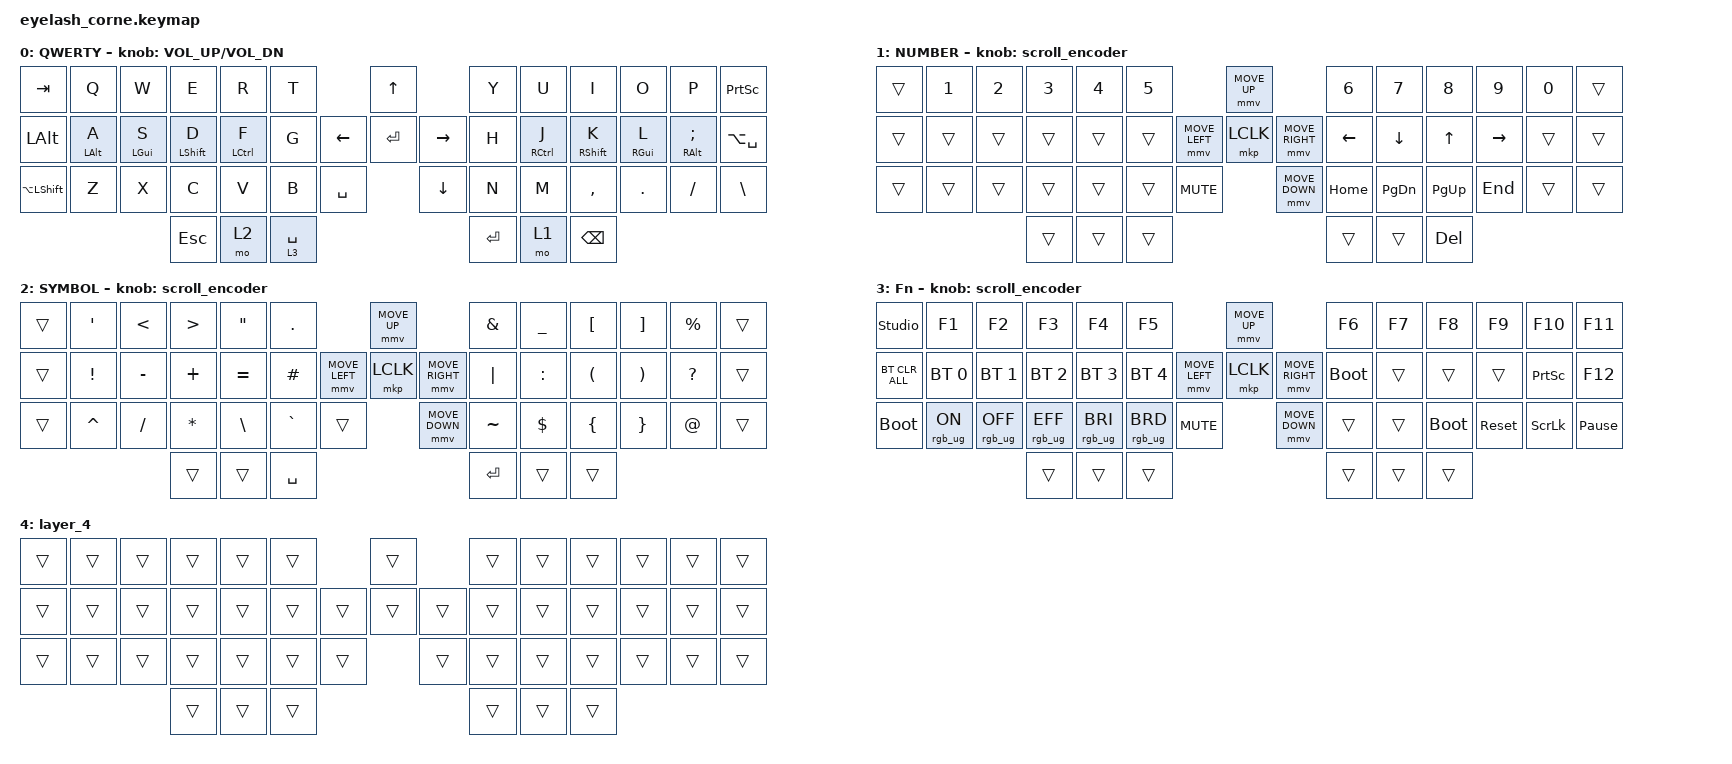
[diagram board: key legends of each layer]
#define ZMK_POINTING_DEFAULT_MOVE_VAL 1200  // 600
#define ZMK_POINTING_DEFAULT_SCRL_VAL 25   // 10

#include <input/processors.dtsi>
#include <zephyr/dt-bindings/input/input-event-codes.h>
#include <behaviors.dtsi>
#include <dt-bindings/zmk/bt.h>
#include <dt-bindings/zmk/keys.h>
#include <dt-bindings/zmk/pointing.h>
#include <dt-bindings/zmk/rgb.h>

&mmv_input_listener { input-processors = <&zip_xy_scaler 2 1>; };

&msc_input_listener { input-processors = <&zip_scroll_scaler 2 1>; };

&msc {
    acceleration-exponent = <1>;      // 0
    time-to-max-speed-ms = <100>;       // 300
    delay-ms = <0>;                   // 0
};

&mmv {
    time-to-max-speed-ms = <500>;
    acceleration-exponent = <1>;
    trigger-period-ms = <16>;
};

&soft_off { hold-time-ms = <2000>; };

/ {
    behaviors {
        prnt: prnt {
            compatible = "zmk,behavior-tap-dance";
            display-name = "Shift/Caps Lock Tap Dance";
            #binding-cells = <0>;
            bindings = <&kp GRAVE>, <&kp PRINTSCREEN>;

            tapping-term-ms = <200>;
        };

        // Custom mod-tap with longer tapping term for homerow mods

        hm: homerow_mods {
            compatible = "zmk,behavior-hold-tap";
            #binding-cells = <2>;
            tapping-term-ms = <280>;
            flavor = "balanced";
            bindings = <&kp>, <&kp>;
        };

        lang: lang {
            compatible = "zmk,behavior-tap-dance";
            display-name = "Shift/Caps Lock Tap Dance";
            #binding-cells = <0>;
            bindings = <&kp MINUS>, <&kp LA(SPACE)>;

            tapping-term-ms = <200>;
        };
    };

    rgb_encoder: rgb_encoder {
        compatible = "zmk,behavior-sensor-rotate";
        #sensor-binding-cells = <0>;
        bindings = <&rgb_ug RGB_BRI>, <&rgb_ug RGB_BRD>;
    };

    scroll_encoder: scroll_encoder {
        compatible = "zmk,behavior-sensor-rotate";
        #sensor-binding-cells = <0>;
        bindings = <&msc SCRL_DOWN>, <&msc SCRL_UP>;

        tap-ms = <100>;
    };

    combos {
        compatible = "zmk,combos";

        softoff {
            bindings = <&soft_off>;
            key-positions = <1 15 29>;
        };
    };

    keymap {
        compatible = "zmk,keymap";

        default_layer {
            display-name = "QWERTY";
            bindings = <
&kp TAB        &kp Q           &kp W           &kp E             &kp R               &kp T                               &kp UP                &kp Y      &kp U                &kp I              &kp O            &kp P               &kp PRINTSCREEN
&kp LEFT_ALT   &hm LEFT_ALT A  &hm LEFT_GUI S  &hm LEFT_SHIFT D  &hm LEFT_CONTROL F  &kp G                     &kp LEFT  &kp ENTER  &kp RIGHT  &kp H      &hm RIGHT_CONTROL J  &hm RIGHT_SHIFT K  &hm RIGHT_GUI L  &hm RIGHT_ALT SEMI  &kp LA(SPACE)
&kp LA(LSHFT)  &kp Z           &kp X           &kp C             &kp V               &kp B        &kp SPACE              &kp DOWN              &kp N      &kp M                &kp COMMA          &kp DOT          &kp FSLH            &kp BACKSLASH
                                               &kp ESCAPE        &mo 2               &lt 3 SPACE                                               &kp ENTER  &mo 1                &kp BACKSPACE
            >;

            sensor-bindings = <&inc_dec_kp C_VOLUME_UP C_VOL_DN>;
        };

        lower_layer {
            display-name = "NUMBER";
            bindings = <
&trans  &kp N1  &kp N2  &kp N3  &kp N4  &kp N5                                &mmv MOVE_UP                     &kp N6    &kp N7         &kp N8       &kp N9     &kp N0  &trans
&trans  &trans  &trans  &trans  &trans  &trans                &mmv MOVE_LEFT  &mkp LCLK       &mmv MOVE_RIGHT  &kp LEFT  &kp DOWN       &kp UP       &kp RIGHT  &trans  &trans
&trans  &trans  &trans  &trans  &trans  &trans  &kp C_MUTE                    &mmv MOVE_DOWN                   &kp HOME  &kp PAGE_DOWN  &kp PAGE_UP  &kp END    &trans  &trans
                        &trans  &trans  &trans                                                                 &trans    &trans         &kp DEL
            >;

            sensor-bindings = <&scroll_encoder>;
        };

        raise_layer {
            display-name = "SYMBOL";
            bindings = <
&trans  &kp SINGLE_QUOTE  &kp LESS_THAN  &kp GREATER_THAN  &kp DOUBLE_QUOTES  &kp DOT                              &mmv MOVE_UP                     &kp AMPS   &kp UNDER   &kp LEFT_BRACKET      &kp RIGHT_BRACKET      &kp PERCENT   &trans
&trans  &kp EXCL          &kp MINUS      &kp PLUS          &kp EQUAL          &kp HASH             &mmv MOVE_LEFT  &mkp LCLK       &mmv MOVE_RIGHT  &kp PIPE   &kp COLON   &kp LEFT_PARENTHESIS  &kp RIGHT_PARENTHESIS  &kp QUESTION  &trans
&trans  &kp CARET         &kp SLASH      &kp ASTRK         &kp BACKSLASH      &kp GRAVE  &trans                    &mmv MOVE_DOWN                   &kp TILDE  &kp DOLLAR  &kp LBRC              &kp RBRC               &kp AT        &trans
                                         &trans            &trans             &kp SPACE                                                             &kp RET    &trans      &trans
            >;

            sensor-bindings = <&scroll_encoder>;
        };

        layer_3 {
            display-name = "Fn";
            bindings = <
&studio_unlock  &kp F1          &kp F2           &kp F3           &kp F4           &kp F5                                         &mmv MOVE_UP                     &kp F6       &kp F7  &kp F8       &kp F9      &kp F10          &kp F11
&bt BT_CLR_ALL  &bt BT_SEL 0    &bt BT_SEL 1     &bt BT_SEL 2     &bt BT_SEL 3     &bt BT_SEL 4                   &mmv MOVE_LEFT  &mkp LCLK       &mmv MOVE_RIGHT  &bootloader  &trans  &trans       &trans      &kp PRINTSCREEN  &kp F12
&bootloader     &rgb_ug RGB_ON  &rgb_ug RGB_OFF  &rgb_ug RGB_EFF  &rgb_ug RGB_BRI  &rgb_ug RGB_BRD  &kp C_MUTE                    &mmv MOVE_DOWN                   &trans       &trans  &bootloader  &sys_reset  &kp SCROLLLOCK   &kp PAUSE_BREAK
                                                 &trans           &trans           &trans                                                                          &trans       &trans  &trans
            >;

            sensor-bindings = <&scroll_encoder>;
        };

        layer_4 {
            bindings = <
&trans  &trans  &trans  &trans  &trans  &trans                    &trans          &trans  &trans  &trans  &trans  &trans  &trans
&trans  &trans  &trans  &trans  &trans  &trans            &trans  &trans  &trans  &trans  &trans  &trans  &trans  &trans  &trans
&trans  &trans  &trans  &trans  &trans  &trans  &trans            &trans          &trans  &trans  &trans  &trans  &trans  &trans
                        &trans  &trans  &trans                                    &trans  &trans  &trans
            >;
        };
    };
};
